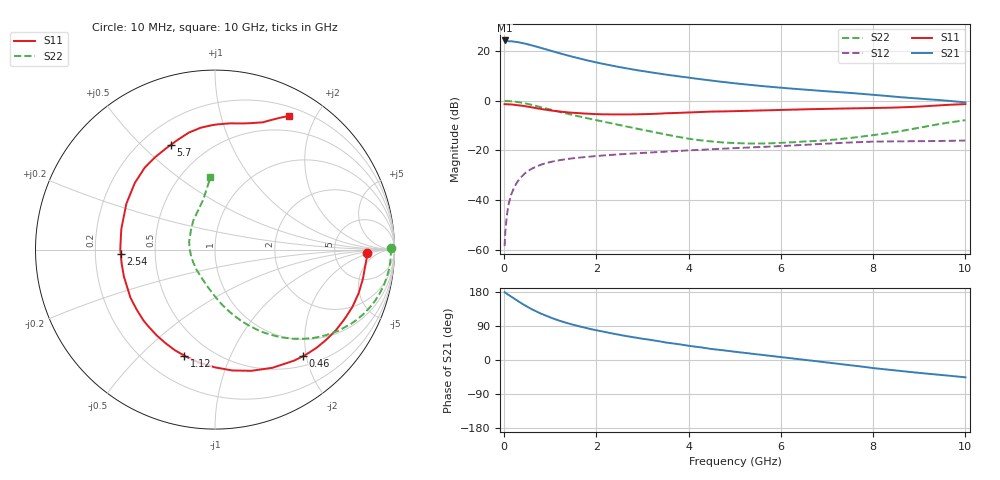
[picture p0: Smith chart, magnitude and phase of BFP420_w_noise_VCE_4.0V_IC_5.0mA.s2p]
! Infineon Technologies  Discrete & RF Semiconductors
! BFP420
! VCE =  4.0 V,  IC =  5.0 mA
! Common Emitter S-Parameters:  Jan 2016
# GHz  S  MA  R  50
!  f  S11  S21  S12  S22
! GHz  MAG  ANG  MAG  ANG  MAG  ANG  MAG  ANG
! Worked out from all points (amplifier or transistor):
!   233 points, 10 MHz to 10 GHz, reference 50 ohm
!   highest |S21| = 24.1 dB at 10 MHz (marker M1)
!   |S21| within 3 dB of that: start of sweep to 800.1 MHz
!   unconditionally stable (mu >= 1): start of sweep to 11.6 MHz; 3.024 GHz to end of sweep
!   at 200 MHz: K = 0.13, MSG = 29.6 dB, |S12| = -35.6 dB
!   at 1.74 GHz: K = 0.60, MSG = 19.5 dB, |S12| = -22.7 dB
!   at 10 GHz: K = 1.13, MAG = 5.5 dB, |S12| = -16.0 dB
!   lowest NFmin = 0.66 dB at 900 MHz
!   S11 on the Smith chart (normalised r, x): 10 MHz: 12, -1; 460 MHz: 0.67, -1.94; 1.12 GHz: 0.36, -0.69; 2.54 GHz: 0.31, -0.02; 5.7 GHz: 0.32, +0.62; 10 GHz: 0.31, +1.66
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0.01  0.8456 -1.2  16.07 179.0  0.0012 23.0  0.9779 0.4
0.02  0.848 -2.4  15.61 178.2  0.0019 59.3  0.9801 -1.2
0.095  0.8399 -10.7  15.6 171.8  0.0081 77.4  0.9768 -5.9
0.2  0.8297 -22.5  15.3 163.2  0.0166 75.3  0.9597 -12.4
0.26  0.8171 -29.1  14.99 158.3  0.0213 72.6  0.9449 -15.9
0.36  0.7955 -40.0  14.48 150.7  0.0286 68.0  0.9138 -21.6
0.46  0.7702 -50.4  13.83 143.4  0.0352 63.5  0.877 -26.9
0.6  0.7321 -64.1  12.84 133.9  0.043 57.7  0.8204 -33.6
0.7  0.7051 -73.3  12.12 127.8  0.0477 54.0  0.7787 -37.9
0.9  0.6565 -89.9  10.7 117.0  0.0553 47.9  0.6994 -45.3
1.12  0.6151 -106.2  9.339 107.0  0.0617 42.7  0.6215 -52.1
1.4  0.5779 -124.2  7.918 96.2  0.0678 37.6  0.5374 -59.4
1.68  0.5536 -139.6  6.815 87.3  0.0726 33.9  0.4687 -65.5
2.02  0.5336 -155.5  5.765 77.9  0.0775 30.5  0.4015 -71.8
2.54  0.5262 -177.2  4.627 65.6  0.0839 26.4  0.3176 -81.5
3.4  0.5491 155.4  3.432 48.6  0.0933 21.4  0.2175 -99.4
4  0.5809 140.3  2.878 37.5  0.1002 18.3  0.1719 -116.8
5.1  0.6154 121.5  2.169 20.3  0.1122 12.6  0.139 -153.3
5.7  0.6333 112.8  1.914 12.0  0.1187 9.6  0.1382 -173.5
6.8  0.6767 99.0  1.584 -3.6  0.1336 3.4  0.1557 154.8
8.4  0.7204 77.4  1.212 -26.6  0.1514 -10.4  0.2278 116.2
10  0.8515 61.0  0.919 -45.7  0.158 -20.2  0.4045 93.6
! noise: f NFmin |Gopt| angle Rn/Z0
0.9  0.66  0.21  31  0.15
1.8  1.05  0.09  93  0.13
2.4  1.14  0.14  119  0.13
3  1.24  0.17  165  0.11
4  1.41  0.31  -145  0.12
5  1.85  0.38  -119  0.21
6  2.3  0.45  -101  0.36
